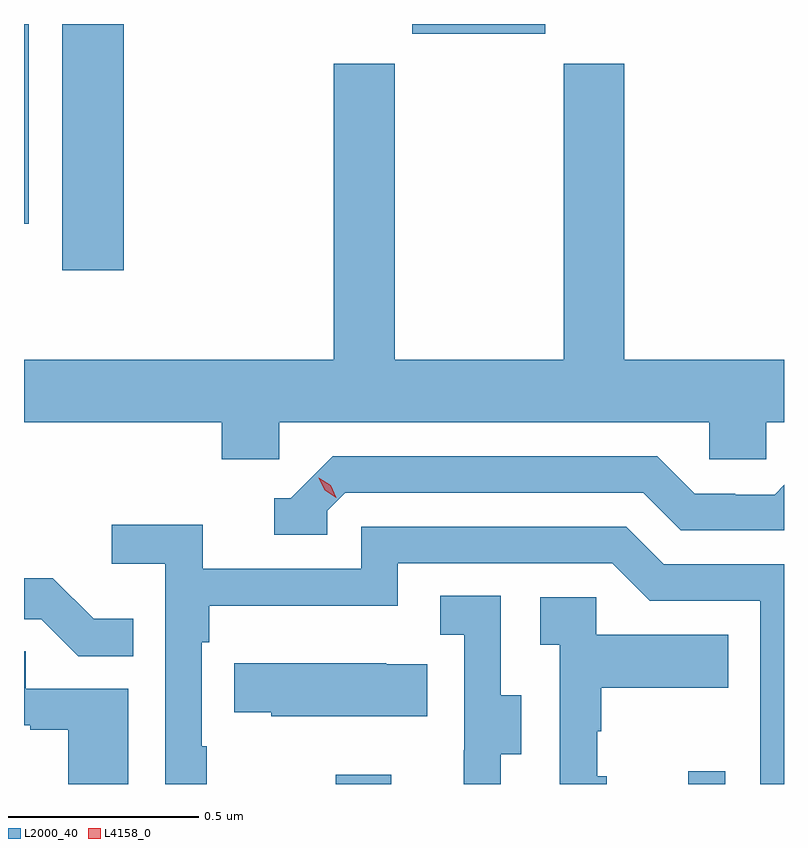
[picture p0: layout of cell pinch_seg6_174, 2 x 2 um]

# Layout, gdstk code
import gdstk
lib = gdstk.Library(unit=1e-6, precision=1e-09)
def R(c, l, rs):  # rectangles x0, y0, x1, y1
    for r in rs: c.add(gdstk.rectangle(r[:2], r[2:], *l))
def P(c, l, *ps):  # polygons
    for p in ps: c.add(gdstk.Polygon(p, *l))
L2000_40 = (2000, 40)
L4158_0 = (4158, 0)

pinch_seg6_174 = lib.new_cell('pinch_seg6_174')
R(pinch_seg6_174, L2000_40, [(1068.922,923.74,1069.069,923.764), (1069.85,923.74,1069.947,923.773), (1068.203,925.092,1068.364,925.74), (1068.102,925.215,1068.114,925.74), (1069.124,925.715,1069.474,925.74)])
P(pinch_seg6_174, L2000_40, [(1068.774,924.692),(1069.905,924.692),(1069.905,924.594),(1070.055,924.594),(1070.055,924.692),(1070.102,924.692),(1070.102,924.856),(1069.682,924.856),(1069.682,925.636),(1069.522,925.636),(1069.522,924.856),(1069.077,924.856),(1069.077,925.636),(1068.917,925.636),(1068.917,924.856),(1068.102,924.856),(1068.102,924.692),(1068.623,924.692),(1068.623,924.594),(1068.774,924.594)],
  [(1068.9,924.459),(1068.948,924.507),(1069.731,924.507),(1069.83,924.408),(1070.102,924.408),(1070.102,924.527),(1070.077,924.501),(1069.974,924.501),(1069.974,924.504),(1069.867,924.504),(1069.768,924.603),(1068.915,924.603),(1068.804,924.492),(1068.761,924.492),(1068.761,924.396),(1068.9,924.396)],
  [(1068.583,923.84),(1068.57,923.84),(1068.57,924.113),(1068.59,924.113),(1068.59,924.209),(1069.086,924.209),(1069.086,924.321),(1069.65,924.321),(1069.749,924.222),(1070.04,924.222),(1070.04,923.74),(1070.102,923.74),(1070.102,924.318),(1069.786,924.318),(1069.687,924.417),(1068.99,924.417),(1068.99,924.306),(1068.572,924.306),(1068.572,924.422),(1068.333,924.422),(1068.333,924.32),(1068.474,924.32),(1068.474,923.74),(1068.583,923.74)],
  [(1068.389,924.175),(1068.285,924.175),(1068.178,924.282),(1068.102,924.282),(1068.102,924.174),(1068.147,924.174),(1068.245,924.076),(1068.389,924.076)],
  [(1069.357,923.818),(1069.411,923.818),(1069.411,923.973),(1069.356,923.973),(1069.356,924.236),(1069.197,924.236),(1069.197,924.133),(1069.26,924.133),(1069.26,923.829),(1069.259,923.829),(1069.259,923.74),(1069.357,923.74)],
  [(1069.636,923.76),(1069.611,923.76),(1069.611,923.879),(1069.621,923.879),(1069.621,923.993),(1069.955,923.993),(1069.955,924.133),(1069.608,924.133),(1069.608,924.231),(1069.461,924.231),(1069.461,924.107),(1069.512,924.107),(1069.512,923.74),(1069.636,923.74)],
  [(1068.376,923.991),(1068.107,923.991),(1068.107,924.089),(1068.102,924.089),(1068.102,923.895),(1068.119,923.895),(1068.119,923.883),(1068.218,923.883),(1068.218,923.74),(1068.376,923.74)],
  [(1069.163,924.055),(1069.055,924.055),(1069.055,924.058),(1068.655,924.058),(1068.655,923.929),(1068.753,923.929),(1068.753,923.918),(1069.163,923.918)])
P(pinch_seg6_174, L4158_0, [(1068.924,924.493),(1068.894,924.513),(1068.878,924.546),(1068.878,924.546),(1068.878,924.546),(1068.909,924.526),(1068.924,924.493),(1068.924,924.493)])

lib.write_gds('pinch_seg6_174.gds')
